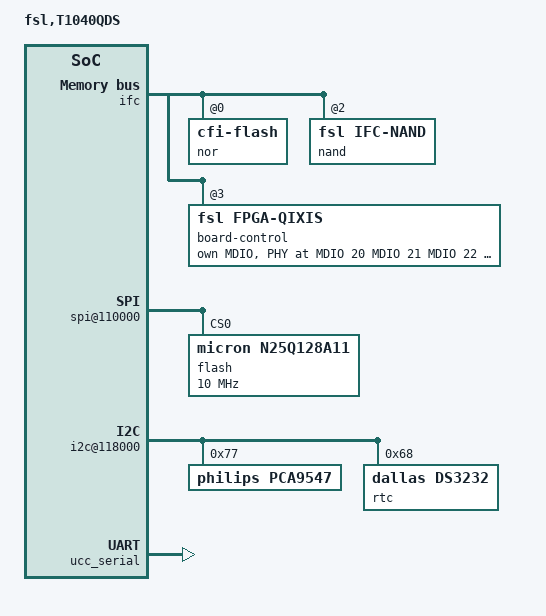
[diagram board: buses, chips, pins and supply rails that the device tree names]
/*
 * T104xQDS Device Tree Source
 *
 * Copyright 2013 - 2015 Freescale Semiconductor Inc.
 *
 * Redistribution and use in source and binary forms, with or without
 * modification, are permitted provided that the following conditions are met:
 *     * Redistributions of source code must retain the above copyright
 *	 notice, this list of conditions and the following disclaimer.
 *     * Redistributions in binary form must reproduce the above copyright
 *	 notice, this list of conditions and the following disclaimer in the
 *	 documentation and/or other materials provided with the distribution.
 *     * Neither the name of Freescale Semiconductor nor the
 *	 names of its contributors may be used to endorse or promote products
 *	 derived from this software without specific prior written permission.
 *
 *
 * ALTERNATIVELY, this software may be distributed under the terms of the
 * GNU General Public License ("GPL") as published by the Free Software
 * Foundation, either version 2 of that License or (at your option) any
 * later version.
 *
 * THIS SOFTWARE IS PROVIDED BY Freescale Semiconductor "AS IS" AND ANY
 * EXPRESS OR IMPLIED WARRANTIES, INCLUDING, BUT NOT LIMITED TO, THE IMPLIED
 * WARRANTIES OF MERCHANTABILITY AND FITNESS FOR A PARTICULAR PURPOSE ARE
 * DISCLAIMED. IN NO EVENT SHALL Freescale Semiconductor BE LIABLE FOR ANY
 * DIRECT, INDIRECT, INCIDENTAL, SPECIAL, EXEMPLARY, OR CONSEQUENTIAL DAMAGES
 * (INCLUDING, BUT NOT LIMITED TO, PROCUREMENT OF SUBSTITUTE GOODS OR SERVICES;
 * LOSS OF USE, DATA, OR PROFITS; OR BUSINESS INTERRUPTION) HOWEVER CAUSED AND
 * ON ANY THEORY OF LIABILITY, WHETHER IN CONTRACT, STRICT LIABILITY, OR TORT
 * (INCLUDING NEGLIGENCE OR OTHERWISE) ARISING IN ANY WAY OUT OF THE USE OF THIS
 * SOFTWARE, EVEN IF ADVISED OF THE POSSIBILITY OF SUCH DAMAGE.
 */

/ {
	model = "fsl,T1040QDS";
	#address-cells = <2>;
	#size-cells = <2>;
	interrupt-parent = <&mpic>;

	aliases {
		emi1_rgmii0 = &t1040mdio0;
		emi1_rgmii1 = &t1040mdio1;
		emi1_slot3 = &t1040mdio3;
		emi1_slot5 = &t1040mdio5;
		emi1_slot6 = &t1040mdio6;
		emi1_slot7 = &t1040mdio7;
		rgmii_phy1 = &rgmii_phy1;
		rgmii_phy2 = &rgmii_phy2;
		phy_s3_01 = &phy_s3_01;
		phy_s3_02 = &phy_s3_02;
		phy_s3_03 = &phy_s3_03;
		phy_s3_04 = &phy_s3_04;
		phy_s5_01 = &phy_s5_01;
		phy_s5_02 = &phy_s5_02;
		phy_s5_03 = &phy_s5_03;
		phy_s5_04 = &phy_s5_04;
		phy_s6_01 = &phy_s6_01;
		phy_s6_02 = &phy_s6_02;
		phy_s6_03 = &phy_s6_03;
		phy_s6_04 = &phy_s6_04;
		phy_s7_01 = &phy_s7_01;
		phy_s7_02 = &phy_s7_02;
		phy_s7_03 = &phy_s7_03;
		phy_s7_04 = &phy_s7_04;
	};

	reserved-memory {
		#address-cells = <2>;
		#size-cells = <2>;
		ranges;

		bman_fbpr: bman-fbpr {
			size = <0 0x1000000>;
			alignment = <0 0x1000000>;
		};
		qman_fqd: qman-fqd {
			size = <0 0x400000>;
			alignment = <0 0x400000>;
		};
		qman_pfdr: qman-pfdr {
			size = <0 0x2000000>;
			alignment = <0 0x2000000>;
		};
	};

	ifc: localbus@ffe124000 {
		reg = <0xf 0xfe124000 0 0x2000>;
		ranges = <0 0 0xf 0xe8000000 0x08000000
			  2 0 0xf 0xff800000 0x00010000
			  3 0 0xf 0xffdf0000 0x00008000>;

		nor@0,0 {
			#address-cells = <1>;
			#size-cells = <1>;
			compatible = "cfi-flash";
			reg = <0x0 0x0 0x8000000>;

			bank-width = <2>;
			device-width = <1>;
		};

		nand@2,0 {
			#address-cells = <1>;
			#size-cells = <1>;
			compatible = "fsl,ifc-nand";
			reg = <0x2 0x0 0x10000>;
		};

		board-control@3,0 {
			#address-cells = <1>;
			#size-cells = <1>;
			compatible = "fsl,fpga-qixis";
			reg = <3 0 0x300>;
			ranges = <0 3 0 0x300>;

			mdio-mux-emi1 {
				#address-cells = <1>;
				#size-cells = <0>;
				compatible = "mdio-mux-mmioreg", "mdio-mux";
				mdio-parent-bus = <&mdio0>;
				reg = <0x54 1>;
				mux-mask = <0xe0>;

				t1040mdio0: mdio@0 {
					#address-cells = <1>;
					#size-cells = <0>;
					reg = <0x00>;
					status = "disabled";

					rgmii_phy1: ethernet-phy@1 {
						reg = <0x1>;
					};
				};

				t1040mdio1: mdio@20 {
					#address-cells = <1>;
					#size-cells = <0>;
					reg = <0x20>;
					status = "disabled";

					rgmii_phy2: ethernet-phy@2 {
						reg = <0x2>;
					};
				};

				t1040mdio3: mdio@60 {
					#address-cells = <1>;
					#size-cells = <0>;
					reg = <0x60>;
					status = "disabled";

					phy_s3_01: ethernet-phy@1c {
						reg = <0x1c>;
					};

					phy_s3_02: ethernet-phy@1d {
						reg = <0x1d>;
					};

					phy_s3_03: ethernet-phy@1e {
						reg = <0x1e>;
					};

					phy_s3_04: ethernet-phy@1f {
						reg = <0x1f>;
					};
				};

				t1040mdio5: mdio@a0 {
					#address-cells = <1>;
					#size-cells = <0>;
					reg = <0xa0>;

					phy_s5_01: ethernet-phy@1c {
						reg = <0x14>;
					};

					phy_s5_02: ethernet-phy@1d {
						reg = <0x15>;
					};

					phy_s5_03: ethernet-phy@1e {
						reg = <0x16>;
					};

					phy_s5_04: ethernet-phy@1f {
						reg = <0x17>;
					};
				};

				t1040mdio6: mdio@c0 {
					#address-cells = <1>;
					#size-cells = <0>;
					reg = <0xc0>;

					phy_s6_01: ethernet-phy@1c {
						reg = <0x18>;
					};

					phy_s6_02: ethernet-phy@1d {
						reg = <0x19>;
					};

					phy_s6_03: ethernet-phy@1e {
						reg = <0x1a>;
					};

					phy_s6_04: ethernet-phy@1f {
						reg = <0x1b>;
					};
				};

				t1040mdio7: mdio@e0 {
					#address-cells = <1>;
					#size-cells = <0>;
					reg = <0xe0>;
					status = "disabled";

					phy_s7_01: ethernet-phy@1c {
						reg = <0x1c>;
					};

					phy_s7_02: ethernet-phy@1d {
						reg = <0x1d>;
					};

					phy_s7_03: ethernet-phy@1e {
						reg = <0x1e>;
					};

					phy_s7_04: ethernet-phy@1f {
						reg = <0x1f>;
					};
				};
			};
		};
	};

	memory {
		device_type = "memory";
	};

	dcsr: dcsr@f00000000 {
		ranges = <0x00000000 0xf 0x00000000 0x01072000>;
	};

	bportals: bman-portals@ff4000000 {
		ranges = <0x0 0xf 0xf4000000 0x2000000>;
	};

	qportals: qman-portals@ff6000000 {
		ranges = <0x0 0xf 0xf6000000 0x2000000>;
	};

	soc: soc@ffe000000 {
		ranges = <0x00000000 0xf 0xfe000000 0x1000000>;
		reg = <0xf 0xfe000000 0 0x00001000>;

		spi@110000 {
			flash@0 {
				#address-cells = <1>;
				#size-cells = <1>;
				compatible = "micron,n25q128a11", "jedec,spi-nor";
				reg = <0>;
				spi-max-frequency = <10000000>; /* input clock */
			};
		};

		i2c@118000 {
			pca9547@77 {
				compatible = "philips,pca9547";
				reg = <0x77>;
			};
			rtc@68 {
				compatible = "dallas,ds3232";
				reg = <0x68>;
				interrupts = <0x1 0x1 0 0>;
			};
		};

		fman@400000 {
			ethernet@e0000 {
				fixed-link = <0 1 1000 0 0>;
				phy-connection-type = "sgmii";
			};

			ethernet@e2000 {
				fixed-link = <1 1 1000 0 0>;
				phy-connection-type = "sgmii";
			};

			ethernet@e4000 {
				phy-handle = <&phy_s7_03>;
				phy-connection-type = "sgmii";
			};

			ethernet@e6000 {
				phy-handle = <&rgmii_phy1>;
				phy-connection-type = "rgmii";
			};

			ethernet@e8000 {
				phy-handle = <&rgmii_phy2>;
				phy-connection-type = "rgmii";
			};
		};
	};

	pci0: pcie@ffe240000 {
		reg = <0xf 0xfe240000 0 0x10000>;
		ranges = <0x02000000 0 0xe0000000 0xc 0x00000000 0x0 0x10000000
			  0x01000000 0 0x00000000 0xf 0xf8000000 0x0 0x00010000>;
		pcie@0 {
			ranges = <0x02000000 0 0xe0000000
				  0x02000000 0 0xe0000000
				  0 0x10000000

				  0x01000000 0 0x00000000
				  0x01000000 0 0x00000000
				  0 0x00010000>;
		};
	};

	pci1: pcie@ffe250000 {
		reg = <0xf 0xfe250000 0 0x10000>;
		ranges = <0x02000000 0x0 0xe0000000 0xc 0x10000000 0x0 0x10000000
			  0x01000000 0x0 0x00000000 0xf 0xf8010000 0x0 0x00010000>;
		pcie@0 {
			ranges = <0x02000000 0 0xe0000000
				  0x02000000 0 0xe0000000
				  0 0x10000000

				  0x01000000 0 0x00000000
				  0x01000000 0 0x00000000
				  0 0x00010000>;
		};
	};

	pci2: pcie@ffe260000 {
		reg = <0xf 0xfe260000 0 0x10000>;
		ranges = <0x02000000 0 0xe0000000 0xc 0x20000000 0 0x10000000
			  0x01000000 0 0x00000000 0xf 0xf8020000 0 0x00010000>;
		pcie@0 {
			ranges = <0x02000000 0 0xe0000000
				  0x02000000 0 0xe0000000
				  0 0x10000000

				  0x01000000 0 0x00000000
				  0x01000000 0 0x00000000
				  0 0x00010000>;
		};
	};

	pci3: pcie@ffe270000 {
		reg = <0xf 0xfe270000 0 0x10000>;
		ranges = <0x02000000 0 0xe0000000 0xc 0x30000000 0 0x10000000
			  0x01000000 0 0x00000000 0xf 0xf8030000 0 0x00010000>;
		pcie@0 {
			ranges = <0x02000000 0 0xe0000000
				  0x02000000 0 0xe0000000
				  0 0x10000000

				  0x01000000 0 0x00000000
				  0x01000000 0 0x00000000
				  0 0x00010000>;
		};
	};

	qe: qe@ffe140000 {
		ranges = <0x0 0xf 0xfe140000 0x40000>;
		reg = <0xf 0xfe140000 0 0x480>;
		brg-frequency = <0>;
		bus-frequency = <0>;

		si1: si@700 {
			compatible = "fsl,t1040-qe-si";
			reg = <0x700 0x80>;
		};

		siram1: siram@1000 {
			compatible = "fsl,t1040-qe-siram";
			reg = <0x1000 0x800>;
		};

		ucc_hdlc: ucc@2000 {
			compatible = "fsl,ucc-hdlc";
			rx-clock-name = "clk8";
			tx-clock-name = "clk9";
			fsl,rx-sync-clock = "rsync_pin";
			fsl,tx-sync-clock = "tsync_pin";
			fsl,tx-timeslot-mask = <0xfffffffe>;
			fsl,rx-timeslot-mask = <0xfffffffe>;
			fsl,tdm-framer-type = "e1";
			fsl,tdm-id = <0>;
			fsl,siram-entry-id = <0>;
			fsl,tdm-interface;
		};

		ucc_serial: ucc@2200 {
			compatible = "fsl,t1040-ucc-uart";
			port-number = <0>;
			rx-clock-name = "brg2";
			tx-clock-name = "brg2";
		};
	};
};
